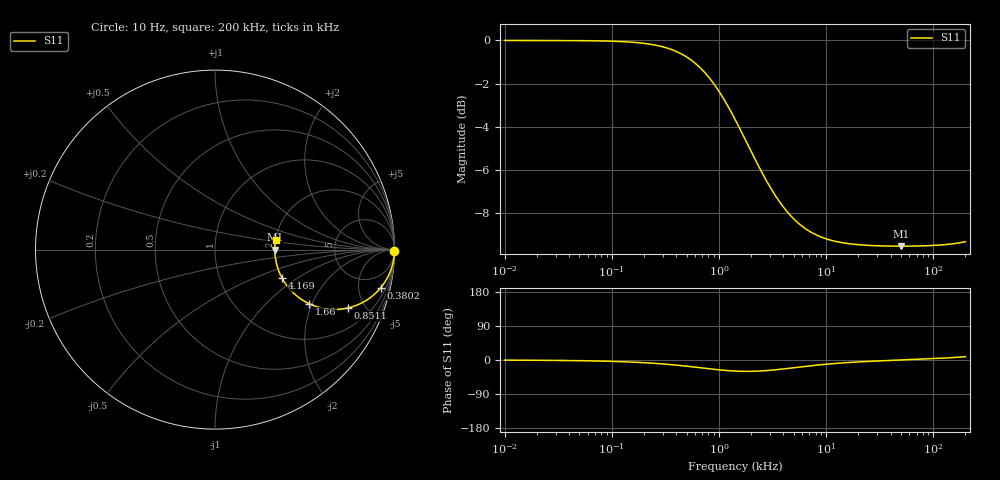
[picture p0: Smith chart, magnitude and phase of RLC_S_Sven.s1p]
! AWR Design Environment (7670) Mon Apr 18 10:24:38 2016
! Document = 'RLC_S_Sven'
! nPorts: 1, nXvals: 432
# HZ Z RI R 50
!Freq ReZ11 ImZ11
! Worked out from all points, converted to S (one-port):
!   432 points, 10 Hz to 200 kHz, reference 50 ohm
!   lowest |S11| = -9.5 dB at 50.12 kHz (marker M1), VSWR 2.00, Z = 100 - j0.0265 ohm
!   |S11| at or under -10 dB: nowhere
!   S11 on the Smith chart (normalised r, x): 10 Hz: open; 380.2 Hz: 2.00, -8.37; 851.1 Hz: 2.00, -3.74; 1.66 kHz: 2.00, -1.92; 4.169 kHz: 2.00, -0.76; 200 kHz: 2.00, +0.24
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10  2 -318.3
34.67368  2 -91.8
69.1831  2 -46.01
120.2264  2 -26.48
169.8244  2 -18.74
234.4229  2 -13.58
301.9952  2 -10.54
380.1894  2 -8.372
416.8694  2 -7.635
501.1872  2 -6.35
588.8437  2 -5.405
724.436  2 -4.393
851.138  2 -3.739
1096.478  2 -2.902
1445.44  2 -2.2
1659.587  2 -1.916
2041.738  2 -1.556
2570.396  2 -1.235
3235.937  2 -0.9796
4168.694  2 -0.7583
4897.788  2 -0.6438
6309.573  2 -0.4966
8317.638  2 -0.3722
16982.44  2 -0.1661
50118.72  2 -0.00053
58884.37  2 0.0199
117489.8  2 0.1205
200000  2 0.2354
